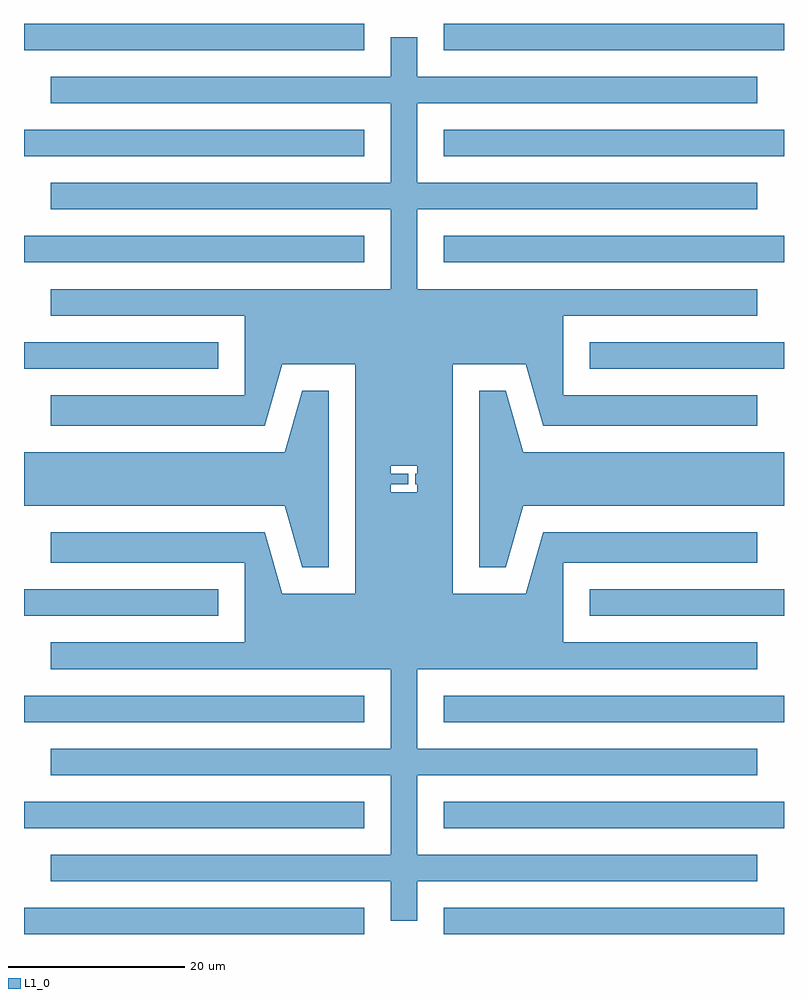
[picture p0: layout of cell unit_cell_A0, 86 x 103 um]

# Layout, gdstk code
from math import pi, radians
import gdstk
lib = gdstk.Library(unit=1e-6, precision=1e-09)
def R(c, l, rs):  # rectangles x0, y0, x1, y1
    for r in rs: c.add(gdstk.rectangle(r[:2], r[2:], *l))
def P(c, l, *ps):  # polygons
    for p in ps: c.add(gdstk.Polygon(p, *l))
L1_0 = (1, 0)

unnamed_304 = lib.new_cell('Unnamed_304')
P(unnamed_304, L1_0, [(38.5,0),(38.5,4.5),(0,4.5),(0,7.5),(38.5,7.5),(38.5,16.5),(0,16.5),(0,19.5),(38.5,19.5),(38.5,28.5),(0,28.5),(0,31.5),(22,31.5),(22,40.5),(0,40.5),(0,44),(24.237,44),(26.237,37),(34.5,37),(34.5,50),(38.5,50),(38.5,48.5),(40,48.5),(40,0)])

straight_l38p5_n2_csxs_e = lib.new_cell('straight_L38p5_N2_CSxs_e9659eb0')
R(straight_l38p5_n2_csxs_e, L1_0, [(0,-1.5,38.5,1.5)])

straight_array_n3_s9_l3_ = lib.new_cell('straight_array_N3_S9_L3_b91b2c6a')
straight_array_n3_s9_l3_.add(gdstk.Reference(straight_l38p5_n2_csxs_e, (0,0)))
straight_array_n3_s9_l3_.add(gdstk.Reference(straight_l38p5_n2_csxs_e, (0,12)))
straight_array_n3_s9_l3_.add(gdstk.Reference(straight_l38p5_n2_csxs_e, (0,24)))

straight_l22_n2_csxs_e96 = lib.new_cell('straight_L22_N2_CSxs_e9659eb0')
R(straight_l22_n2_csxs_e96, L1_0, [(0,-1.5,22,1.5)])

unnamed_299 = lib.new_cell('Unnamed_299')
unnamed_299.add(gdstk.Reference(straight_array_n3_s9_l3_, (-3,0)))
unnamed_299.add(gdstk.Reference(straight_l22_n2_csxs_e96, (-3,36)))

straight_l31p5_n2_csxs_4 = lib.new_cell('straight_L31p5_N2_CSxs_41e8578a')
R(straight_l31p5_n2_csxs_4, L1_0, [(0,-3,31.5,3)])

triangle_x10_x3_y5_y3_l1 = lib.new_cell('triangle_X10_X3_Y5_Y3_L1_0')
P(triangle_x10_x3_y5_y3_l1, L1_0, [(0,0),(0,5),(3,5),(10,3),(10,0)])

unnamed_302 = lib.new_cell('Unnamed_302')
unnamed_302.add(gdstk.Reference(straight_l31p5_n2_csxs_4, (-3,50)))
unnamed_302.add(gdstk.Reference(triangle_x10_x3_y5_y3_l1, (31.5,50), rotation=3*pi/2, x_reflection=True))

unnamed_305 = lib.new_cell('Unnamed_305')
unnamed_305.add(gdstk.Reference(unnamed_304, (0,0)))
unnamed_305.add(gdstk.Reference(unnamed_299, (0,0)))
unnamed_305.add(gdstk.Reference(unnamed_302, (0,0)))

rectangle_s2_0p6_lwg_cf_ = lib.new_cell('rectangle_S2_0p6_LWG_CF_a6a46f17')
R(rectangle_s2_0p6_lwg_cf_, L1_0, [(0,0,2,0.6)])

rectangle_s0p2_1p2_lwg__ = lib.new_cell('rectangle_S0p2_1p2_LWG__107b6a9b')
R(rectangle_s0p2_1p2_lwg__, L1_0, [(0,0,0.2,1.2)])

unnamed_306 = lib.new_cell('Unnamed_306')
unnamed_306.add(gdstk.Reference(rectangle_s2_0p6_lwg_cf_, (0,0)))
unnamed_306.add(gdstk.Reference(rectangle_s0p2_1p2_lwg__, (2.8,-0.6)))

unit_cell_a0 = lib.new_cell('unit_cell_A0')
unit_cell_a0.add(gdstk.Reference(unnamed_305, (0,0)))
unit_cell_a0.add(gdstk.Reference(unnamed_305, (80,0), rotation=pi, x_reflection=True))
unit_cell_a0.add(gdstk.Reference(unnamed_305, (0,100), x_reflection=True))
unit_cell_a0.add(gdstk.Reference(unnamed_305, (80,100), rotation=pi))
unit_cell_a0.add(gdstk.Reference(unnamed_306, (38.5,50)))
unit_cell_a0.add(gdstk.Reference(unnamed_306, (38.5,50), x_reflection=True))

lib.write_gds('unit_cell_A0.gds')
